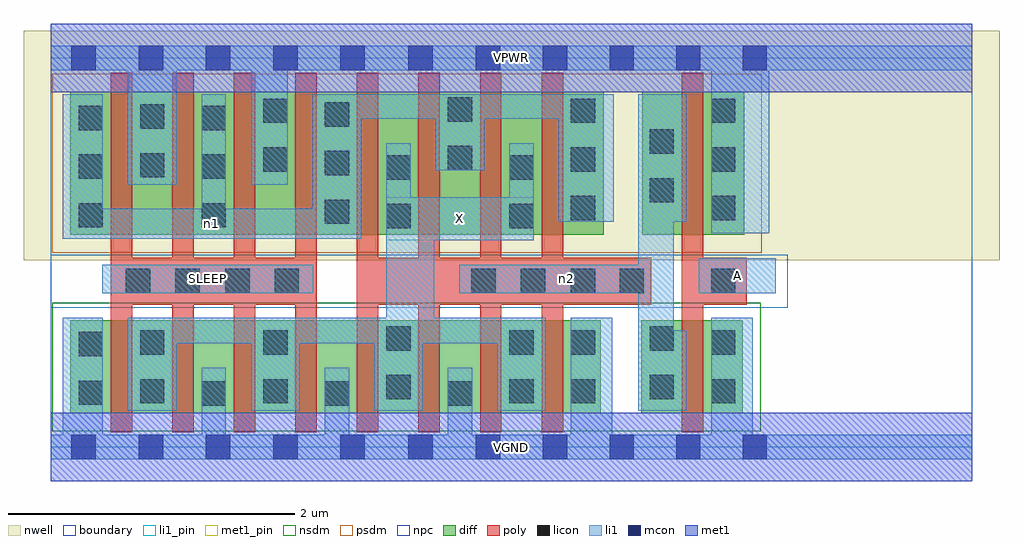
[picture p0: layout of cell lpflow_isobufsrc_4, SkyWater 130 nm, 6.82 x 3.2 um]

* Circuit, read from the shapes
.subckt lpflow_isobufsrc_4 A SLEEP VGND VPWR X n1 n2
XM1 X SLEEP VGND VSUBS sky130_fd_pr__nfet_01v8 w=0.65 l=0.15 m=4
XM2 X n2 VGND VSUBS sky130_fd_pr__nfet_01v8 w=0.65 l=0.15 m=4
XM3 VGND A n2 VSUBS sky130_fd_pr__nfet_01v8 w=0.65 l=0.15
XM4 VPWR SLEEP n1 n3 sky130_fd_pr__pfet_01v8 w=1 l=0.15 m=4
XM5 X n2 n1 n3 sky130_fd_pr__pfet_01v8 w=1 l=0.15 m=4
XM6 VPWR A n2 n3 sky130_fd_pr__pfet_01v8 w=1 l=0.15
.ends

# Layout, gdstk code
import gdstk
lib = gdstk.Library(unit=1e-6, precision=1e-09)
def R(c, l, rs):  # rectangles x0, y0, x1, y1
    for r in rs: c.add(gdstk.rectangle(r[:2], r[2:], *l))
def A(c, l, x, y, w, h, nx, ny, dx, dy):  # array of equal rectangles
    R(c, l, [(x+i*dx, y+j*dy, x+i*dx+w, y+j*dy+h) for i in range(nx) for j in range(ny)])
nwell = (64, 20)
diff = (65, 20)
poly = (66, 20)
licon = (66, 44)
li1_pin = (67, 16)
li1 = (67, 20)
mcon = (67, 44)
met1_pin = (68, 16)
met1 = (68, 20)
nsdm = (93, 44)
psdm = (94, 20)
npc = (95, 20)
boundary = (235, 4)

lpflow_isobufsrc_4 = lib.new_cell('lpflow_isobufsrc_4')
R(lpflow_isobufsrc_4, nwell, [(-0.19,1.305,6.63,2.91), (0,1.305,6.44,2.91)])
R(lpflow_isobufsrc_4, diff, [(0.135,0.235,3.845,0.885), (4.125,0.235,4.835,0.885), (0.135,1.485,3.865,2.485), (4.135,1.485,4.845,2.485)])
A(lpflow_isobufsrc_4, poly, 0.42, 0.105, 0.15, 2.51, 8, 1, 0.43, 0)
R(lpflow_isobufsrc_4, poly, [(4.41,0.105,4.56,2.615), (0.42,0.995,1.86,1.325), (2.14,0.995,4.195,1.325), (4.41,0.995,4.865,1.325)])
A(lpflow_isobufsrc_4, licon, 1.055, 0.29, 0.17, 0.17, 3, 1, 0.86, 0)
A(lpflow_isobufsrc_4, licon, 0.195, 1.535, 0.17, 0.17, 1, 3, 0, 0.34)
A(lpflow_isobufsrc_4, licon, 1.055, 1.535, 0.17, 0.17, 1, 3, 0, 0.34)
A(lpflow_isobufsrc_4, licon, 1.915, 1.56, 0.17, 0.17, 1, 3, 0, 0.34)
A(lpflow_isobufsrc_4, licon, 3.635, 1.585, 0.17, 0.17, 1, 3, 0, 0.34)
A(lpflow_isobufsrc_4, licon, 4.615, 1.585, 0.17, 0.17, 1, 3, 0, 0.34)
R(lpflow_isobufsrc_4, licon, [(0.195,0.295,0.365,0.465), (0.625,0.305,0.795,0.475), (1.485,0.305,1.655,0.475), (3.205,0.305,3.375,0.475), (3.635,0.305,3.805,0.475), (4.615,0.305,4.785,0.475), (2.345,0.335,2.515,0.505), (4.185,0.335,4.355,0.505), (0.195,0.635,0.365,0.805), (0.625,0.645,0.795,0.815), (1.485,0.645,1.655,0.815), (3.205,0.645,3.375,0.815), (3.635,0.645,3.805,0.815), (4.615,0.645,4.785,0.815), (2.345,0.675,2.515,0.845), (4.185,0.675,4.355,0.845), (0.525,1.075,0.695,1.245), (0.87,1.075,1.04,1.245), (1.22,1.075,1.39,1.245), (1.565,1.075,1.735,1.245), (2.94,1.075,3.11,1.245), (3.285,1.075,3.455,1.245), (3.635,1.075,3.805,1.245), (3.975,1.075,4.145,1.245), (4.615,1.075,4.785,1.245), (2.345,1.53,2.515,1.7), (3.205,1.53,3.375,1.7), (4.185,1.71,4.355,1.88), (2.345,1.87,2.515,2.04), (3.205,1.87,3.375,2.04), (0.625,1.885,0.795,2.055), (1.485,1.925,1.655,2.095), (2.775,1.935,2.945,2.105), (4.185,2.05,4.355,2.22), (0.625,2.225,0.795,2.395), (1.485,2.265,1.655,2.435), (2.775,2.275,2.945,2.445)])
R(lpflow_isobufsrc_4, li1_pin, [(0.36,1.075,1.835,1.275), (4.53,1.075,5.065,1.32), (2.345,1.445,3.375,1.745)])
A(lpflow_isobufsrc_4, li1, 1.055, -0.085, 0.17, 0.64, 3, 1, 0.86, 0)
A(lpflow_isobufsrc_4, li1, 0.54, 0.255, 0.34, 0.65, 4, 1, 0.86, 0)
R(lpflow_isobufsrc_4, li1, [(0,-0.085,6.44,0.085), (0.085,-0.085,0.365,0.905), (3.635,-0.085,3.925,0.905), (4.615,-0.085,4.905,0.905), (2.345,0.255,2.515,2.125), (4.105,0.255,4.355,2.465), (4.105,0.255,4.44,0.815), (0.54,0.725,3.46,0.905), (2.345,0.725,2.68,1.745), (0.36,1.075,1.835,1.275), (2.855,1.075,4.355,1.275), (4.53,1.075,5.065,1.32), (2.345,1.445,3.375,1.745), (3.205,1.445,3.375,2.125), (0.085,1.455,2.17,1.665), (0.085,1.455,0.365,2.465), (1.055,1.455,1.225,2.465), (1.83,1.455,2.17,2.465), (4.615,1.495,5.02,2.805), (3.55,1.575,3.935,2.465), (4.105,1.575,4.44,2.465), (0.54,1.835,0.88,2.805), (1.4,1.835,1.655,2.805), (2.69,1.935,3.03,2.465), (1.83,2.295,3.935,2.465), (0,2.635,6.44,2.805)])
A(lpflow_isobufsrc_4, mcon, 0.145, -0.085, 0.17, 0.17, 5, 2, 0.47, 2.72)
A(lpflow_isobufsrc_4, mcon, 2.5, -0.085, 0.17, 0.17, 3, 2, 0.47, 2.72)
A(lpflow_isobufsrc_4, mcon, 3.905, -0.085, 0.17, 0.17, 3, 2, 0.465, 2.72)
R(lpflow_isobufsrc_4, met1_pin, [(0,-0.24,6.44,0.24), (0,2.48,6.44,2.96)])
R(lpflow_isobufsrc_4, met1, [(0,-0.24,6.44,0.24), (0,2.48,6.44,2.96)])
R(lpflow_isobufsrc_4, nsdm, [(0.01,0.11,4.96,1.01)])
R(lpflow_isobufsrc_4, psdm, [(0.01,1.36,4.97,2.61)])
R(lpflow_isobufsrc_4, npc, [(0,0.975,5.15,1.345)])
R(lpflow_isobufsrc_4, boundary, [(0,0,6.44,2.72)])
lpflow_isobufsrc_4.add(gdstk.Label('A', (4.797,1.197), layer=67, texttype=5))
lpflow_isobufsrc_4.add(gdstk.Label('SLEEP', (1.097,1.175), layer=67, texttype=5))
lpflow_isobufsrc_4.add(gdstk.Label('X', (2.86,1.595), layer=67, texttype=5))
lpflow_isobufsrc_4.add(gdstk.Label('n1', (1.127,1.56), layer=67, texttype=5))
lpflow_isobufsrc_4.add(gdstk.Label('n2', (3.605,1.175), layer=67, texttype=5))
lpflow_isobufsrc_4.add(gdstk.Label('VPWR', (3.22,2.72), layer=68, texttype=5))
lpflow_isobufsrc_4.add(gdstk.Label('VGND', (3.22,0), layer=68, texttype=5))
lpflow_isobufsrc_4.add(gdstk.Label('A', (4.797,1.197), layer=67, texttype=16))
lpflow_isobufsrc_4.add(gdstk.Label('SLEEP', (1.097,1.175), layer=67, texttype=16))
lpflow_isobufsrc_4.add(gdstk.Label('X', (2.86,1.595), layer=67, texttype=16))
lpflow_isobufsrc_4.add(gdstk.Label('VPWR', (3.22,2.72), layer=68, texttype=16))
lpflow_isobufsrc_4.add(gdstk.Label('VGND', (3.22,0), layer=68, texttype=16))

lib.write_gds('lpflow_isobufsrc_4.gds')
